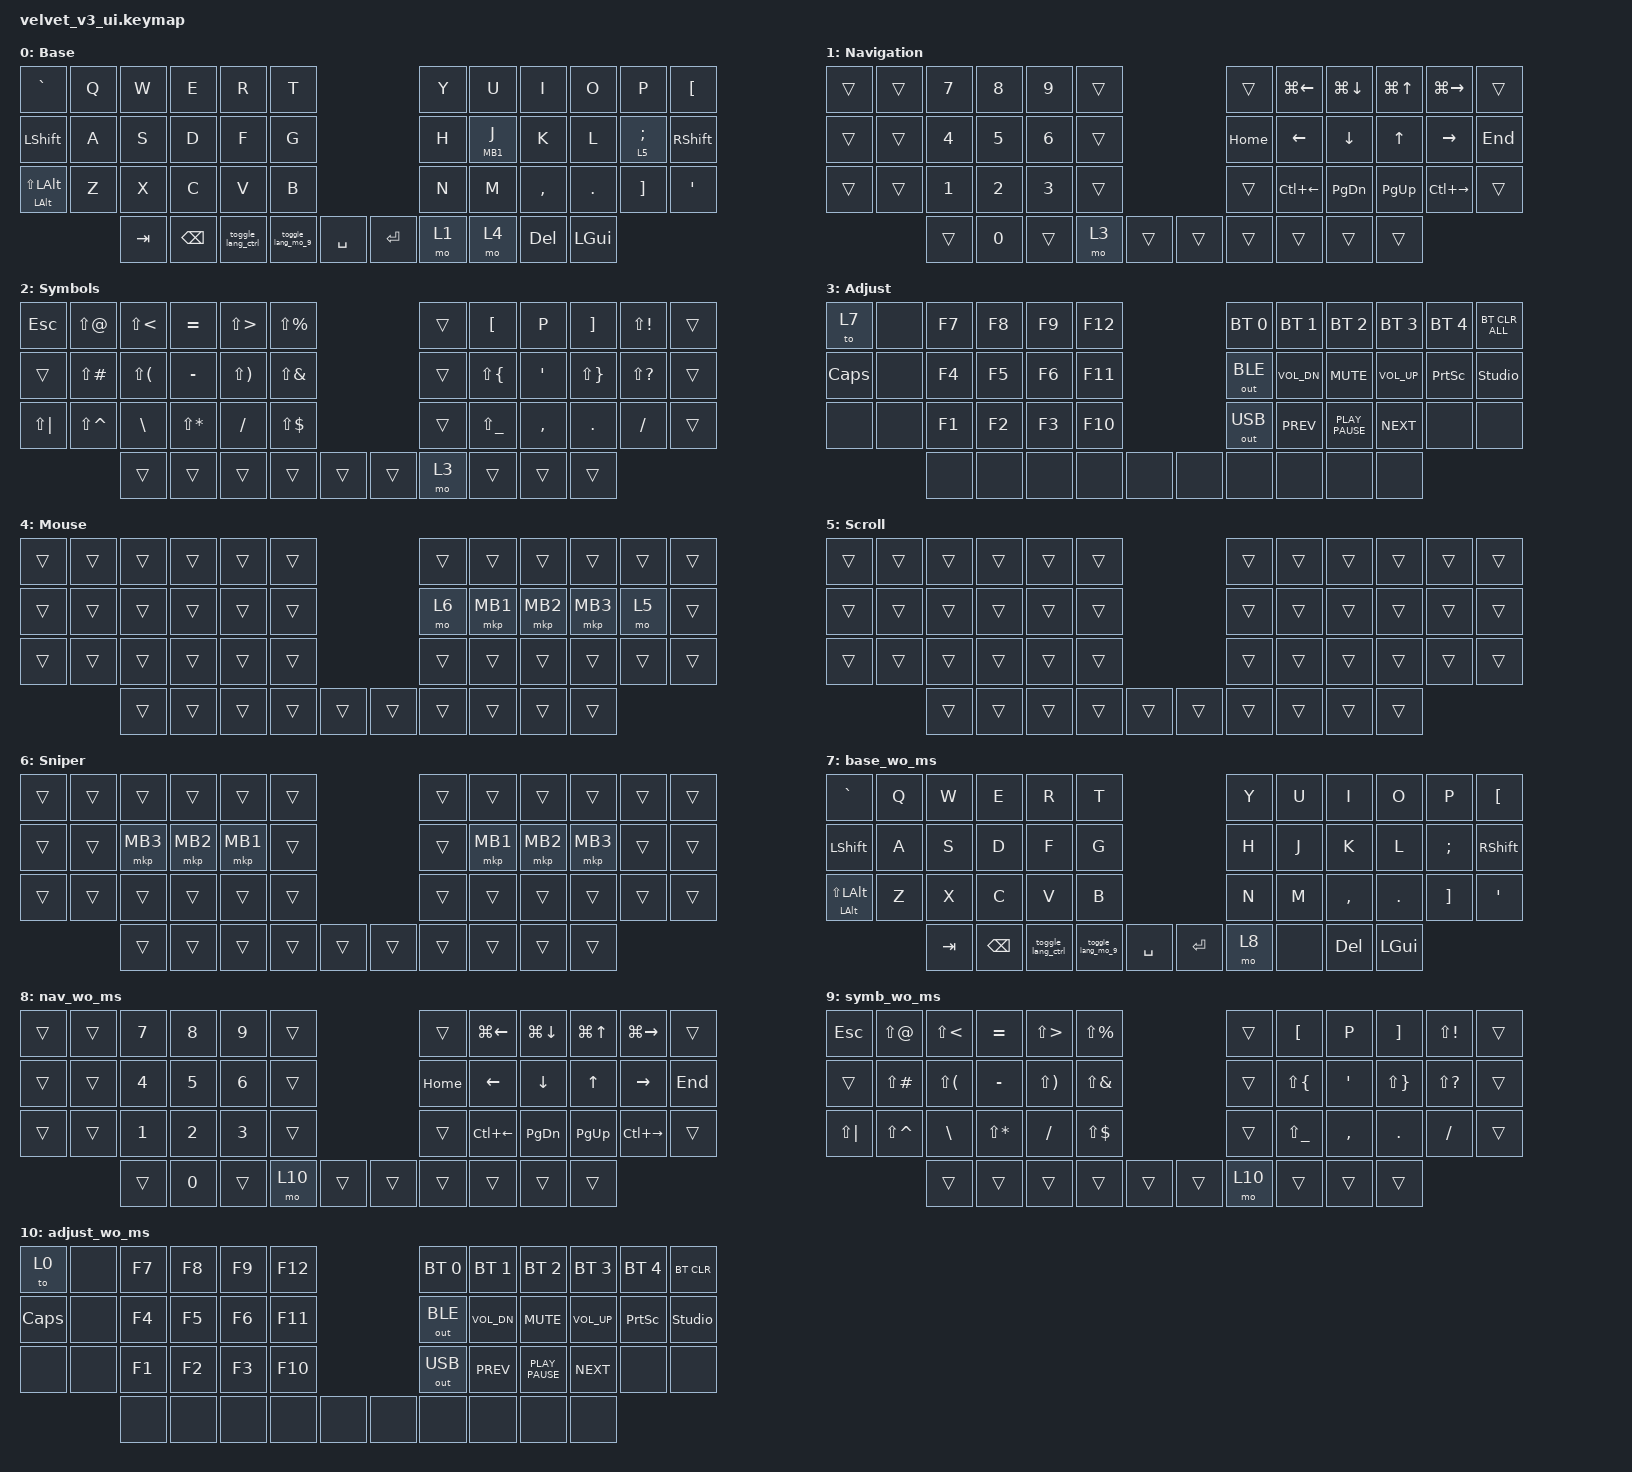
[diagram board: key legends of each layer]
#include "keys_ru.h"
#include <dt-bindings/zmk/input_transform.h>
#include <input/processors.dtsi>
#include <zephyr/dt-bindings/input/input-event-codes.h>
#include <behaviors.dtsi>
#include <dt-bindings/zmk/bt.h>
#include <dt-bindings/zmk/keys.h>
#include <dt-bindings/zmk/outputs.h>
#include <dt-bindings/zmk/pointing.h>

/ {
    behaviors {
        cap_sen: cap_sen {
            compatible = "zmk,behavior-hold-tap";
            label = "CAP_SEN";
            bindings = <&mo>, <&mkp>;

            #binding-cells = <2>;
            tapping-term-ms = <150>;
            hold-while-undecided;
        };

        mkpt: mkpt {
            compatible = "zmk,behavior-hold-tap";
            label = "MKPT";
            bindings = <&mkp>, <&kp>;

            #binding-cells = <2>;
            tapping-term-ms = <150>;
            require-prior-idle-ms = <125>;
            flavor = "tap-preferred";
        };
    };

    macros {
        toggle_lang_mo_2: toggle_lang_mo_2 {
            compatible = "zmk,behavior-macro";
            #binding-cells = <0>;
            bindings =
                <&macro_tap>,
                <&kp LS(LC(F20))>,
                <&macro_press>,
                <&mo 2>,
                <&macro_pause_for_release>,
                <&macro_release>,
                <&mo 2>,
                <&macro_tap>,
                <&kp LS(LC(F21))>;

            label = "TOGGLE_LANG_MO_2";
        };

        toggle_lang_ctrl: toggle_lang_ctrl {
            compatible = "zmk,behavior-macro";
            #binding-cells = <0>;
            bindings =
                <&macro_tap>,
                <&kp LS(LC(F20))>,
                <&macro_press>,
                <&kp LCTRL>,
                <&macro_pause_for_release>,
                <&macro_release>,
                <&kp LCTRL>,
                <&macro_tap>,
                <&kp LS(LC(F21))>;

            label = "TOGGLE_LANG_CTRL";
        };

        toggle_lang_mo_9: toggle_lang_mo_9 {
            compatible = "zmk,behavior-macro";
            #binding-cells = <0>;
            bindings =
                <&macro_tap>,
                <&kp LS(LC(F20))>,
                <&macro_press>,
                <&mo 9>,
                <&macro_pause_for_release>,
                <&macro_release>,
                <&mo 9>,
                <&macro_tap>,
                <&kp LS(LC(F21))>;

            label = "TOGGLE_LANG_MO_9";
        };
    };

    keymap {
        compatible = "zmk,keymap";

        base {
            bindings = <
&kp GRAVE          &kp Q  &kp W    &kp E     &kp R              &kp T                                    &kp Y  &kp U        &kp I       &kp O     &kp P       &kp LBKT
&kp LSHFT          &kp A  &kp S    &kp D     &kp F              &kp G                                    &kp H  &mkpt MB1 J  &kp K       &kp L     &lt 5 SEMI  &kp RSHIFT
&mt LALT LS(LALT)  &kp Z  &kp X    &kp C     &kp V              &kp B                                    &kp N  &kp M        &kp COMMA   &kp DOT   &kp RBKT    &kp SQT
                          &kp TAB  &kp BSPC  &toggle_lang_ctrl  &toggle_lang_mo_9  &kp SPACE    &kp RET  &mo 1  &mo 4        &kp DELETE  &kp LGUI
            >;

            display-name = "Base";
        };

        nav {
            bindings = <
&trans  &trans  &kp N7  &kp N8  &kp N9  &trans                    &trans    &kp LG(LEFT)  &kp LG(DOWN)   &kp LG(UP)   &kp LG(RIGHT)  &trans
&trans  &trans  &kp N4  &kp N5  &kp N6  &trans                    &kp HOME  &kp LEFT      &kp DOWN       &kp UP       &kp RIGHT      &kp END
&trans  &trans  &kp N1  &kp N2  &kp N3  &trans                    &trans    &kp LC(LEFT)  &kp PAGE_DOWN  &kp PAGE_UP  &kp LC(RIGHT)  &trans
                &trans  &kp N0  &trans  &mo 3   &trans    &trans  &trans    &trans        &trans         &trans
            >;

            display-name = "Navigation";
        };

        sym {
            bindings = <
&kp ESC       &kp LS(AT)     &kp LS(LT)    &kp EQUAL     &kp LS(GT)    &kp LS(PRCNT)                    &trans  &kp LBKT       &kp P      &kp RBKT      &kp LS(EXCL)   &trans
&trans        &kp LS(POUND)  &kp LS(LPAR)  &kp MINUS     &kp LS(RPAR)  &kp LS(AMPS)                     &trans  &kp LS(LBRC)   &kp SQT    &kp LS(RBRC)  &kp LS(QMARK)  &trans
&kp LS(PIPE)  &kp LS(CARET)  &kp BSLH      &kp LS(STAR)  &kp FSLH      &kp LS(DLLR)                     &trans  &kp LS(UNDER)  &kp COMMA  &kp DOT       &kp FSLH       &trans
                             &trans        &trans        &trans        &trans         &trans    &trans  &mo 3   &trans         &trans     &trans
            >;

            display-name = "Symbols";
        };

        adj {
            bindings = <
&to 7         &none  &kp F7  &kp F8  &kp F9  &kp F12                  &bt BT_SEL 0  &bt BT_SEL 1  &bt BT_SEL 2      &bt BT_SEL 3  &bt BT_SEL 4     &bt BT_CLR_ALL
&kp CAPSLOCK  &none  &kp F4  &kp F5  &kp F6  &kp F11                  &out OUT_BLE  &kp C_VOL_DN  &kp K_MUTE        &kp C_VOL_UP  &kp PRINTSCREEN  &studio_unlock
&none         &none  &kp F1  &kp F2  &kp F3  &kp F10                  &out OUT_USB  &kp K_PREV    &kp K_PLAY_PAUSE  &kp K_NEXT    &none            &none
                     &none   &none   &none   &none    &none    &none  &none         &none         &none             &none
            >;

            display-name = "Adjust";
        };

        mouse {
            bindings = <
&trans  &trans  &trans  &trans  &trans  &trans                    &trans  &trans    &trans    &trans    &trans  &trans
&trans  &trans  &trans  &trans  &trans  &trans                    &mo 6   &mkp MB1  &mkp MB2  &mkp MB3  &mo 5   &trans
&trans  &trans  &trans  &trans  &trans  &trans                    &trans  &trans    &trans    &trans    &trans  &trans
                &trans  &trans  &trans  &trans  &trans    &trans  &trans  &trans    &trans    &trans
            >;

            display-name = "Mouse";
        };

        scroll {
            bindings = <
&trans  &trans  &trans  &trans  &trans  &trans                    &trans  &trans  &trans  &trans  &trans  &trans
&trans  &trans  &trans  &trans  &trans  &trans                    &trans  &trans  &trans  &trans  &trans  &trans
&trans  &trans  &trans  &trans  &trans  &trans                    &trans  &trans  &trans  &trans  &trans  &trans
                &trans  &trans  &trans  &trans  &trans    &trans  &trans  &trans  &trans  &trans
            >;

            display-name = "Scroll";
        };

        sniper {
            bindings = <
&trans  &trans  &trans    &trans    &trans    &trans                    &trans  &trans    &trans    &trans    &trans  &trans
&trans  &trans  &mkp MB3  &mkp MB2  &mkp MB1  &trans                    &trans  &mkp MB1  &mkp MB2  &mkp MB3  &trans  &trans
&trans  &trans  &trans    &trans    &trans    &trans                    &trans  &trans    &trans    &trans    &trans  &trans
                &trans    &trans    &trans    &trans  &trans    &trans  &trans  &trans    &trans    &trans
            >;

            display-name = "Sniper";
        };

        base_wo_ms {
            label = "base_wo_ms";
            bindings = <
&kp GRAVE          &kp Q  &kp W    &kp E     &kp R              &kp T                                    &kp Y  &kp U  &kp I       &kp O     &kp P     &kp LBKT
&kp LSHFT          &kp A  &kp S    &kp D     &kp F              &kp G                                    &kp H  &kp J  &kp K       &kp L     &kp SEMI  &kp RSHIFT
&mt LALT LS(LALT)  &kp Z  &kp X    &kp C     &kp V              &kp B                                    &kp N  &kp M  &kp COMMA   &kp DOT   &kp RBKT  &kp SQT
                          &kp TAB  &kp BSPC  &toggle_lang_ctrl  &toggle_lang_mo_9  &kp SPACE    &kp RET  &mo 8  &none  &kp DELETE  &kp LGUI
            >;

            display-name = "base_wo_ms";
        };

        nav_wo_ms {
            label = "nav_wo_ms";
            bindings = <
&trans  &trans  &kp N7  &kp N8  &kp N9  &trans                    &trans    &kp LG(LEFT)  &kp LG(DOWN)   &kp LG(UP)   &kp LG(RIGHT)  &trans
&trans  &trans  &kp N4  &kp N5  &kp N6  &trans                    &kp HOME  &kp LEFT      &kp DOWN       &kp UP       &kp RIGHT      &kp END
&trans  &trans  &kp N1  &kp N2  &kp N3  &trans                    &trans    &kp LC(LEFT)  &kp PAGE_DOWN  &kp PAGE_UP  &kp LC(RIGHT)  &trans
                &trans  &kp N0  &trans  &mo 10  &trans    &trans  &trans    &trans        &trans         &trans
            >;

            display-name = "nav_wo_ms";
        };

        symb_wo_ms {
            label = "symb_wo_ms";
            bindings = <
&kp ESC       &kp LS(AT)     &kp LS(LT)    &kp EQUAL     &kp LS(GT)    &kp LS(PRCNT)                    &trans  &kp LBKT       &kp P      &kp RBKT      &kp LS(EXCL)   &trans
&trans        &kp LS(POUND)  &kp LS(LPAR)  &kp MINUS     &kp LS(RPAR)  &kp LS(AMPS)                     &trans  &kp LS(LBRC)   &kp SQT    &kp LS(RBRC)  &kp LS(QMARK)  &trans
&kp LS(PIPE)  &kp LS(CARET)  &kp BSLH      &kp LS(STAR)  &kp FSLH      &kp LS(DLLR)                     &trans  &kp LS(UNDER)  &kp COMMA  &kp DOT       &kp FSLH       &trans
                             &trans        &trans        &trans        &trans         &trans    &trans  &mo 10  &trans         &trans     &trans
            >;

            display-name = "symb_wo_ms";
        };

        adjust_wo_ms {
            label = "adjust_wo_ms";
            bindings = <
&to 0         &none  &kp F7  &kp F8  &kp F9  &kp F12                  &bt BT_SEL 0  &bt BT_SEL 1  &bt BT_SEL 2      &bt BT_SEL 3  &bt BT_SEL 4     &bt BT_CLR
&kp CAPSLOCK  &none  &kp F4  &kp F5  &kp F6  &kp F11                  &out OUT_BLE  &kp C_VOL_DN  &kp K_MUTE        &kp C_VOL_UP  &kp PRINTSCREEN  &studio_unlock
&none         &none  &kp F1  &kp F2  &kp F3  &kp F10                  &out OUT_USB  &kp K_PREV    &kp K_PLAY_PAUSE  &kp K_NEXT    &none            &none
                     &none   &none   &none   &none    &none    &none  &none         &none         &none             &none
            >;

            display-name = "adjust_wo_ms";
        };
    };
};

&trackball { cpi = <1000>; };

&trackball_listener {
    input-processors = <&zip_xy_scaler 9 20>;

    scroller {
        layers = <5>;
        input-processors =
            <&zip_xy_transform INPUT_TRANSFORM_Y_INVERT>,
            <&zip_xy_scaler 1 32>,
            <&zip_xy_to_scroll_mapper>;
    };

    sniper {
        layers = <6>;
        input-processors = <&zip_xy_scaler 1 4>;
    };
};
